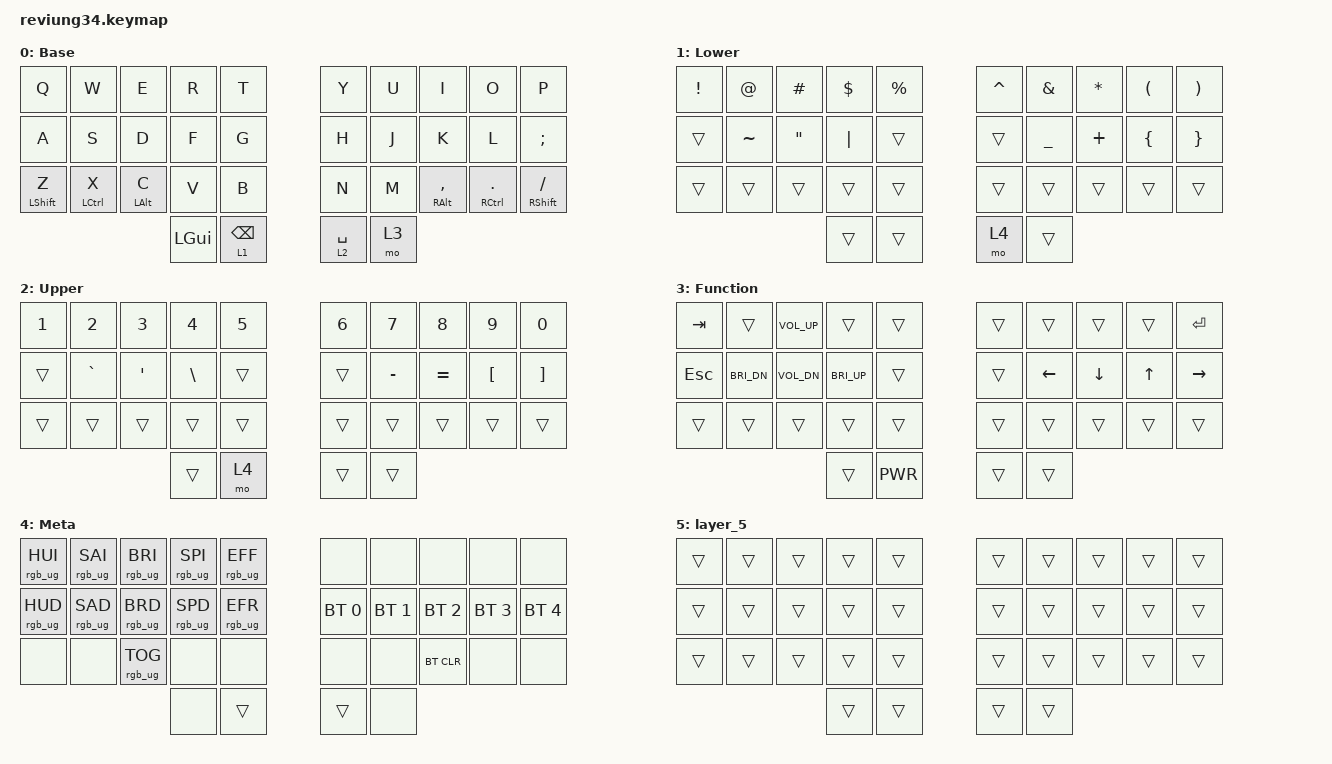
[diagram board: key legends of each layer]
/*
 * Copyright (c) 2023 The ZMK Contributors
 *
 * SPDX-License-Identifier: MIT
 */

#include <behaviors.dtsi>
#include <dt-bindings/zmk/bt.h>
#include <dt-bindings/zmk/keys.h>
#include <dt-bindings/zmk/rgb.h>

/ {
    chosen {
        // 34 keys.

        zmk,matrix-transform = &dual_1u_transform;

        // 33 keys. Center two thumb keys replaced by a single 2u key. Remember to adjust your
        // keymap accordingly!
        // zmk,matrix-transform = &single_2u_transform;
    };
};

/ {
    keymap {
        compatible = "zmk,keymap";

        base {
            display-name = "Base";
            bindings = <
&kp Q        &kp W        &kp E       &kp R     &kp T         &kp Y        &kp U  &kp I           &kp O          &kp P
&kp A        &kp S        &kp D       &kp F     &kp G         &kp H        &kp J  &kp K           &kp L          &kp SEMI
&mt LSHFT Z  &mt LCTRL X  &mt LALT C  &kp V     &kp B         &kp N        &kp M  &mt RALT COMMA  &mt RCTRL DOT  &mt RSHFT SLASH
                                      &kp LGUI  &lt 1 BSPC    &lt 2 SPACE  &mo 3
            >;
        };

        lower {
            display-name = "Lower";
            bindings = <
&kp EXCL  &kp AT     &kp HASH  &kp DLLR  &kp PRCNT    &kp CARET  &kp AMPS   &kp ASTRK  &kp LPAR  &kp RPAR
&trans    &kp TILDE  &kp DQT   &kp PIPE  &trans       &trans     &kp UNDER  &kp PLUS   &kp LBRC  &kp RBRC
&trans    &trans     &trans    &trans    &trans       &trans     &trans     &trans     &trans    &trans
                               &trans    &trans       &mo 4      &trans
            >;
        };

        upper {
            display-name = "Upper";
            bindings = <
&kp N1  &kp N2     &kp N3   &kp N4    &kp N5    &kp N6  &kp N7     &kp N8     &kp N9    &kp N0
&trans  &kp GRAVE  &kp SQT  &kp BSLH  &trans    &trans  &kp MINUS  &kp EQUAL  &kp LBKT  &kp RBKT
&trans  &trans     &trans   &trans    &trans    &trans  &trans     &trans     &trans    &trans
                            &trans    &mo 4     &trans  &trans
            >;
        };

        function {
            display-name = "Function";
            bindings = <
&kp TAB  &trans        &kp C_VOL_UP  &trans        &trans       &trans  &trans    &trans    &trans  &kp ENTER
&kp ESC  &kp C_BRI_DN  &kp C_VOL_DN  &kp C_BRI_UP  &trans       &trans  &kp LEFT  &kp DOWN  &kp UP  &kp RIGHT
&trans   &trans        &trans        &trans        &trans       &trans  &trans    &trans    &trans  &trans
                                     &trans        &kp C_PWR    &trans  &trans
            >;
        };

        meta {
            display-name = "Meta";
            bindings = <
&rgb_ug RGB_HUI  &rgb_ug RGB_SAI  &rgb_ug RGB_BRI  &rgb_ug RGB_SPI  &rgb_ug RGB_EFF    &none         &none         &none         &none         &none
&rgb_ug RGB_HUD  &rgb_ug RGB_SAD  &rgb_ug RGB_BRD  &rgb_ug RGB_SPD  &rgb_ug RGB_EFR    &bt BT_SEL 0  &bt BT_SEL 1  &bt BT_SEL 2  &bt BT_SEL 3  &bt BT_SEL 4
&none            &none            &rgb_ug RGB_TOG  &none            &none              &none         &none         &bt BT_CLR    &none         &none
                                                   &none            &trans             &trans        &none
            >;
        };

        layer_5 {
            bindings = <
&trans  &trans  &trans  &trans  &trans    &trans  &trans  &trans  &trans  &trans
&trans  &trans  &trans  &trans  &trans    &trans  &trans  &trans  &trans  &trans
&trans  &trans  &trans  &trans  &trans    &trans  &trans  &trans  &trans  &trans
                        &trans  &trans    &trans  &trans
            >;
        };
    };
};
